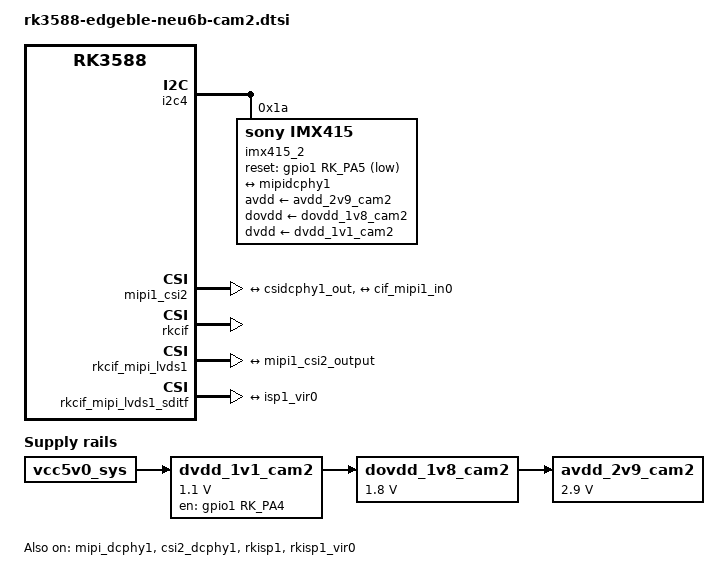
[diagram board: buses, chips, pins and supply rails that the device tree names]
// SPDX-License-Identifier: (GPL-2.0+ OR MIT)
/*
 * Copyright (c) 2023 Edgeble AI Technologies Pvt. Ltd.
 *
 * Edgeble Neu6B CAM2-IMX415.
 */

/ {
	dvdd_1v1_cam2: dvdd-1v1-cam2-regulator {
		compatible = "regulator-fixed";
		regulator-name = "dvdd_1v1_cam2";
		enable-active-high;
		gpio = <&gpio1 RK_PA4 GPIO_ACTIVE_HIGH>;
		pinctrl-names = "default";
		pinctrl-0 = <&pwdn_gpio_cam2>;
		regulator-always-on;
		regulator-boot-on;
		regulator-min-microvolt = <1100000>;
		regulator-max-microvolt = <1100000>;
		vin-supply = <&vcc5v0_sys>;
	};

	dovdd_1v8_cam2: dovdd-1v8-cam2-regulator {
		compatible = "regulator-fixed";
		regulator-name = "dovdd_1v8_cam2";
		regulator-always-on;
		regulator-boot-on;
		regulator-min-microvolt = <1800000>;
		regulator-max-microvolt = <1800000>;
		vin-supply = <&dvdd_1v1_cam2>;
	};

	avdd_2v9_cam2: avdd-2v9-cam2-regulator {
		compatible = "regulator-fixed";
		regulator-name = "avdd_2v9_cam2";
		regulator-always-on;
		regulator-boot-on;
		regulator-min-microvolt = <2900000>;
		regulator-max-microvolt = <2900000>;
		vin-supply = <&dovdd_1v8_cam2>;
	};
};

&pinctrl {
	cam2 {
		pwdn_gpio_cam2: pwdn-gpio-cam2 {
			rockchip,pins = <1 RK_PA4 RK_FUNC_GPIO &pcfg_pull_none>;
		};
	};
};

&i2c4 {
	pinctrl-names = "default";
	pinctrl-0 = <&i2c4m1_xfer>;
	#address-cells = <1>;
	#size-cells = <0>;
	status = "okay";

	imx415_2: imx415@1a {
		compatible = "sony,imx415";
		reg = <0x1a>;
		clocks = <&cru CLK_MIPI_CAMARAOUT_M2>;
		clock-names = "xvclk";
		pinctrl-names = "default";
		pinctrl-0 = <&mipim0_camera2_clk>;
		power-domains = <&power RK3588_PD_VI>;
		reset-gpios = <&gpio1 RK_PA5 GPIO_ACTIVE_LOW>;
		avdd-supply = <&avdd_2v9_cam2>;
		dovdd-supply = <&dovdd_1v8_cam2>;
		dvdd-supply = <&dvdd_1v1_cam2>;
		rockchip,camera-module-index = <1>;
		rockchip,camera-module-facing = "back";
		rockchip,camera-module-name = "EDGEBLE-CAM4K-A00";
		rockchip,camera-module-lens-name = "DEFAULT";
		port {
			imx415_2_out0: endpoint {
				remote-endpoint = <&mipidcphy1>;
				data-lanes = <1 2 3 4>;
			};
		};
	};
};

&mipi_dcphy1 {
	status = "okay";
};

&csi2_dcphy1 {
	status = "okay";

	ports {
		#address-cells = <1>;
		#size-cells = <0>;

		port@0 {
			reg = <0>;
			#address-cells = <1>;
			#size-cells = <0>;

			mipidcphy1: endpoint@1 {
				reg = <1>;
				remote-endpoint = <&imx415_2_out0>;
				data-lanes = <1 2 3 4>;
			};
		};

		port@1 {
			reg = <1>;
			#address-cells = <1>;
			#size-cells = <0>;

			csidcphy1_out: endpoint@0 {
				reg = <0>;
				remote-endpoint = <&mipi1_csi2_input>;
			};
		};
	};
};

&mipi1_csi2 {
	status = "okay";

	ports {
		#address-cells = <1>;
		#size-cells = <0>;

		port@0 {
			reg = <0>;
			#address-cells = <1>;
			#size-cells = <0>;

			mipi1_csi2_input: endpoint@1 {
				reg = <1>;
				remote-endpoint = <&csidcphy1_out>;
			};
		};

		port@1 {
			reg = <1>;
			#address-cells = <1>;
			#size-cells = <0>;

			mipi1_csi2_output: endpoint@0 {
				reg = <0>;
				remote-endpoint = <&cif_mipi1_in0>;
			};
		};
	};
};

&rkcif {
	status = "okay";
};

&rkcif_mipi_lvds1 {
	status = "okay";

	port {
		cif_mipi1_in0: endpoint {
			remote-endpoint = <&mipi1_csi2_output>;
		};
	};
};

&rkcif_mipi_lvds1_sditf {
	status = "okay";

	port {
		mipi_lvds1_sditf: endpoint {
			remote-endpoint = <&isp1_vir0>;
		};
	};
};

&rkcif_mmu {
	status = "okay";
};

&rkisp1 {
	status = "okay";
};

&isp1_mmu {
	status = "okay";
};

&rkisp1_vir0 {
	status = "okay";

	port {
		#address-cells = <1>;
		#size-cells = <0>;

		isp1_vir0: endpoint@0 {
			reg = <0>;
			remote-endpoint = <&mipi_lvds1_sditf>;
		};
	};
};
